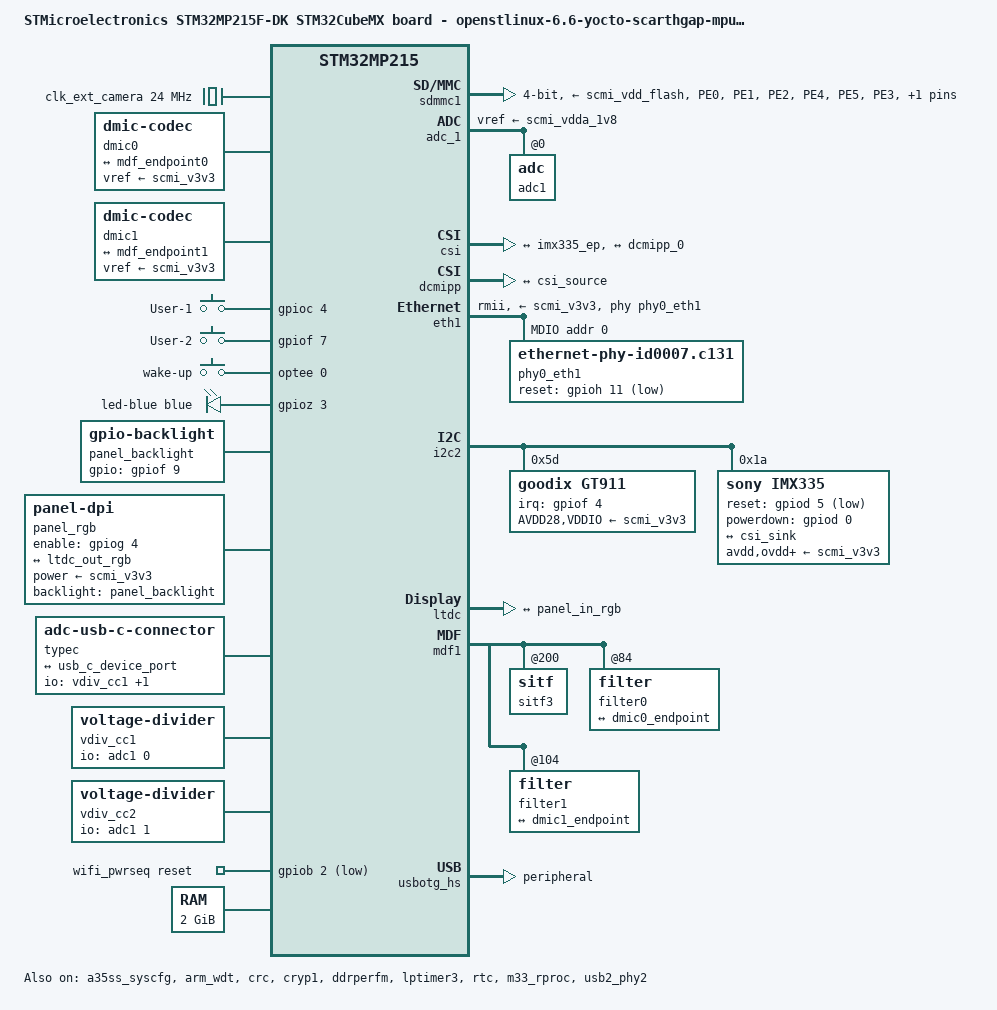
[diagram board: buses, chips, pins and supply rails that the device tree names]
/dts-v1/;
#include <dt-bindings/pinctrl/stm32-pinfunc.h>
#include "stm32mp215.dtsi"
#include "stm32mp21xf.dtsi"
#include "stm32mp215f-board_215f-dk_m33td-mx-resmem.dtsi"

/* USER CODE BEGIN includes */
#include <dt-bindings/gpio/gpio.h>
#include <dt-bindings/leds/common.h>
#include <dt-bindings/input/input.h>
#include <dt-bindings/rtc/rtc-stm32.h>
#include "stm32mp21-pinctrl.dtsi"
/* USER CODE END includes */

/{
	model = "STMicroelectronics STM32MP215F-DK STM32CubeMX board - openstlinux-6.6-yocto-scarthgap-mpu-v25.01.03";
	compatible = "st,stm32mp215f-board_215f-dk_m33td-mx", "st,stm32mp215f-dk", "st,stm32mp215";

	/* USER CODE BEGIN root */

	aliases{
		ethernet0 = &eth1;
		serial0 = &usart2;
		serial1 = &usart6;
		serial2 = &uart4;
		serial3 = &usart1;
	};

	chosen{
		stdout-path = "serial0:115200n8";
		#address-cells = <2>;
		#size-cells = <2>;
		ranges;
	};

	clocks{

		clk_ext_camera:clk-ext-camera{
			#clock-cells = <0>;
			compatible = "fixed-clock";
			clock-frequency = <24000000>;
		};
	};

	dmic0:dmic-0{
		compatible = "dmic-codec";
		#sound-dai-cells = <1>;
		sound-name-prefix = "dmic0";
		vref-supply = <&scmi_v3v3>;
		status = "okay";

		port{

			dmic0_endpoint:endpoint{
				remote-endpoint = <&mdf_endpoint0>;
			};
		};
	};

	dmic1:dmic-1{
		compatible = "dmic-codec";
		#sound-dai-cells = <1>;
		sound-name-prefix = "dmic1";
		vref-supply = <&scmi_v3v3>;
		status = "okay";

		port{

			dmic1_endpoint:endpoint{
				remote-endpoint = <&mdf_endpoint1>;
			};
		};
	};

	gpio-keys{
		compatible = "gpio-keys";

		button-user-1{
			label = "User-1";
			linux,code = <BTN_1>;
			gpios = <&gpioc 4 GPIO_ACTIVE_HIGH>;
			status = "okay";
		};

		button-user-2{
			label = "User-2";
			linux,code = <BTN_2>;
			gpios = <&gpiof 7 GPIO_ACTIVE_HIGH>;
			status = "okay";
		};

		button-wake-up{
			label = "wake-up";
			linux,code = <KEY_WAKEUP>;
			interrupts-extended = <&optee 0>;
			wakeup-source;
			status = "okay";
		};
	};

	gpio-leds{
		compatible = "gpio-leds";

		led-blue{
			function = LED_FUNCTION_HEARTBEAT;
			color = <LED_COLOR_ID_BLUE>;
			gpios = <&gpioz 3 GPIO_ACTIVE_HIGH>;
			linux,default-trigger = "heartbeat";
			default-state = "off";
		};
	};

	panel_backlight:panel-backlight{
		compatible = "gpio-backlight";
		gpios = <&gpiof 9 GPIO_ACTIVE_HIGH>;
		default-on;
		default-brightness-level = <1>;
		status = "okay";
	};

	panel_rgb:panel-rgb{
		compatible = "panel-dpi";
		enable-gpios = <&gpiog 4 GPIO_ACTIVE_HIGH>;
		backlight = <&panel_backlight>;
		power-supply = <&scmi_v3v3>;
		data-mapping = "bgr666";
		default-on;
		status = "okay";
		width-mm = <105>;
		height-mm = <67>;

		port{

			panel_in_rgb:endpoint{
				remote-endpoint = <&ltdc_out_rgb>;
			};
		};

		panel-timing{
			clock-frequency = <10000000>;
			hactive = <480>;
			vactive = <272>;
			hsync-len = <52>;
			hfront-porch = <10>;
			hback-porch = <10>;
			vsync-len = <10>;
			vfront-porch = <10>;
			vback-porch = <10>;
			hsync-active = <0>;
			vsync-active = <0>;
			de-active = <1>;
			pixelclk-active = <1>;
		};
	};

	sound{
		compatible = "audio-graph-card";
		label = "STM32MP21-DK";
		dais = <&mdf1_port0 &mdf1_port1>;
		status = "okay";
	};

	typec{
		compatible = "adc-usb-c-connector";
		io-channels = <&vdiv_cc1>, <&vdiv_cc2>;
		io-channel-names = "cc1", "cc2";

		connector{
			compatible = "usb-c-connector";
			label = "USB-C";
			data-role = "device";
			power-role = "sink";

			port{

				usb_c_port:endpoint{
					remote-endpoint = <&usb_c_device_port>;
				};
			};
		};
	};

	vdiv_cc1:voltage-divider-cc1{
		compatible = "voltage-divider";
		#io-channel-cells = <0>;
		io-channels = <&adc1 0>;
		output-ohms = <3900>;
		full-ohms = <5100>;
	};

	vdiv_cc2:voltage-divider-cc2{
		compatible = "voltage-divider";
		#io-channel-cells = <0>;
		io-channels = <&adc1 1>;
		output-ohms = <3900>;
		full-ohms = <5100>;
	};

	wifi_pwrseq:wifi-pwrseq{
		compatible = "mmc-pwrseq-simple";
		reset-gpios = <&gpiob 2 GPIO_ACTIVE_LOW>;
	};
	/* USER CODE END root */

	memory@80000000{
		device_type = "memory";
		reg = <0x0 0x80000000 0x0 0x80000000>;
	};
};

&pinctrl {

	sdmmc1_pins_mx:sdmmc1_mx-0{

		pins1{
			pinmux = <STM32_PINMUX('E', 0, AF10)>,
					<STM32_PINMUX('E', 1, AF10)>,
					<STM32_PINMUX('E', 2, AF10)>,
					<STM32_PINMUX('E', 4, AF10)>,
					<STM32_PINMUX('E', 5, AF10)>;
			bias-disable;
			drive-push-pull;
			slew-rate = <2>;
		};

		pins2{
			pinmux = <STM32_PINMUX('E', 3, AF10)>;
			bias-disable;
			drive-push-pull;
			slew-rate = <3>;
		};
	};
	/* USER CODE BEGIN pinctrl */
	/* USER CODE END pinctrl */
};

&pinctrl_z {
	/* USER CODE BEGIN pinctrl_z */
	/* USER CODE END pinctrl_z */
};

&sdmmc1 {
	pinctrl-names = "default", "opendrain", "sleep";
	pinctrl-0 = <&sdmmc1_pins_mx>;
	pinctrl-1 = <&sdmmc1_opendrain_pins_mx>;
	pinctrl-2 = <&sdmmc1_sleep_pins_mx>;
	status = "okay";

	/* USER CODE BEGIN sdmmc1 */
	cd-gpios = <&gpiod 3 (GPIO_ACTIVE_LOW | GPIO_PULL_UP)>;
	disable-wp;
	st,neg-edge;
	bus-width = <4>;
	vmmc-supply = <&scmi_vdd_flash>;
	vqmmc-supply = <&scmi_vddio1>;
	/* USER CODE END sdmmc1 */
};

/* USER CODE BEGIN addons */

&adc_1 {
	vdda-supply = <&scmi_vdda18adc>;
	vref-supply = <&scmi_vdda_1v8>;
	status = "okay";

	adc1:adc@0{
		status = "okay";

		channel@0{
			reg = <0>;
			st,min-sample-time-ns = <100>;
		};

		channel@1{
			reg = <1>;
			st,min-sample-time-ns = <100>;
		};
	};
};

&a35ss_syscfg {
	status = "okay";
};

&arm_wdt {
	timeout-sec = <32>;
	status = "okay";
};

&crc {
	status = "okay";
};

&cryp1 {
	status = "okay";
};

&csi {
	vdd-supply = <&scmi_vddcore>;
	vdda18-supply = <&scmi_vdda_1v8>;
	status = "okay";

	ports{
		#address-cells = <1>;
		#size-cells = <0>;

		port@0{
			reg = <0>;

			csi_sink:endpoint{
				remote-endpoint = <&imx335_ep>;
				data-lanes = <1 2>;
				bus-type = <4>;
			};
		};

		port@1{
			reg = <1>;

			csi_source:endpoint{
				remote-endpoint = <&dcmipp_0>;
			};
		};
	};
};

&dcmipp {
	status = "okay";

	port{

		dcmipp_0:endpoint{
			remote-endpoint = <&csi_source>;
			bus-type = <4>;
		};
	};
};

&ddrperfm {
	st,dram-type = <0>;
	status = "okay";
};

&eth1 {
	status = "okay";
	pinctrl-0 = <&eth1_rmii_pins_a>;
	pinctrl-1 = <&eth1_rmii_sleep_pins_a>;
	pinctrl-names = "default", "sleep";
	phy-mode = "rmii";
	max-speed = <100>;
	phy-handle = <&phy0_eth1>;
	phy-supply = <&scmi_v3v3>;
	st,ext-phyclk;

	mdio1{
		#address-cells = <1>;
		#size-cells = <0>;
		compatible = "snps,dwmac-mdio";

		phy0_eth1:ethernet-phy@0{
			compatible = "ethernet-phy-id0007.c131";
			reset-gpios = <&gpioh 11 GPIO_ACTIVE_LOW>;
			reset-assert-us = <1000>;
			reset-deassert-us = <30000>;
			reg = <0>;
		};
	};
};

&hpdma {
	memory-region = <&hpdma1_lli>;
	lli-bus-interface = <1>;
};

&hpdma2 {
	memory-region = <&hpdma2_lli>;
	lli-bus-interface = <1>;
};

&hpdma3 {
	memory-region = <&hpdma3_lli>;
	lli-bus-interface = <1>;
};

&i2c2 {
	pinctrl-names = "default", "sleep";
	pinctrl-0 = <&i2c2_pins_a>;
	pinctrl-1 = <&i2c2_sleep_pins_a>;
	status = "okay";
	i2c-scl-rising-time-ns = <34>;
	i2c-scl-falling-time-ns = <2>;
	goodix:goodix-ts@5d{
		compatible = "goodix,gt911";
		reg = <0x5d>;
		pinctrl-names = "default";
		pinctrl-0 = <&goodix_pins_a>;
		interrupt-parent = <&gpiof>;
		interrupts = <4 IRQ_TYPE_EDGE_FALLING>;
		AVDD28-supply = <&scmi_v3v3>;
		VDDIO-supply = <&scmi_v3v3>;
		touchscreen-size-x = <480>;
		touchscreen-size-y = <272>;
		status = "okay";
	};

	imx335:camera@1a{
		compatible = "sony,imx335";
		reg = <0x1a>;
		clocks = <&clk_ext_camera>;
		avdd-supply = <&scmi_v3v3>;
		ovdd-supply = <&scmi_v3v3>;
		dvdd-supply = <&scmi_v3v3>;
		reset-gpios = <&gpiod 5 (GPIO_ACTIVE_LOW | GPIO_PUSH_PULL)>;
		powerdown-gpios = <&gpiod 0 (GPIO_ACTIVE_HIGH | GPIO_PUSH_PULL)>;

		port{

			imx335_ep:endpoint{
				remote-endpoint = <&csi_sink>;
				clock-lanes = <0>;
				data-lanes = <1 2>;
				link-frequencies = /bits/ 64 <594000000>;
			};
		};
	};
};

&ipcc1 {
	status = "okay";
};

&lptimer3 {
	status = "okay";

	timer{
		status = "okay";
	};
};

&ltdc {
	pinctrl-names = "default", "sleep";
	pinctrl-0 = <&ltdc_pins_a>;
	pinctrl-1 = <&ltdc_sleep_pins_a>;
	default-on;
	status = "okay";

	port{

		ltdc_out_rgb:endpoint{
			remote-endpoint = <&panel_in_rgb>;
		};
	};
};

&mdf1 {
	pinctrl-names = "default", "sleep";
	pinctrl-0 = <&mdf_cck0_pins_a>;
	pinctrl-1 = <&mdf_cck0_sleep_pins_a>;
	#clock-cells = <1>;
	clock-output-names = "cck0";
	clock-frequency = <1536000>;
	status = "okay";

	sitf3:sitf@200{
		pinctrl-names = "default", "sleep";
		pinctrl-0 = <&mdf_sdi3_pins_a>;
		pinctrl-1 = <&mdf_sdi3_sleep_pins_a>;
		st,sitf-mode = "spi";
		clocks = <&mdf1 0>;
		status = "okay";
	};

	filter0:filter@84{
		#address-cells = <1>;
		#size-cells = <0>;
		st,cic-mode = <4>;
		st,sitf = <&sitf3 0>;
		st,hpf-filter-cutoff-bp = <625>;
		status = "okay";

		channel@0{
			reg = <0>;
			label = "dmic_u26";
		};

		asoc_pdm0:mdf-dai{
			compatible = "st,stm32mp25-mdf-dai";
			#sound-dai-cells = <0>;
			io-channels = <&filter0 0>;
			power-domains = <&d1_pd>;
			status = "okay";

			mdf1_port0:port{

				mdf_endpoint0:endpoint{
					remote-endpoint = <&dmic0_endpoint>;
				};
			};
		};
	};

	filter1:filter@104{
		#address-cells = <1>;
		#size-cells = <0>;
		st,cic-mode = <4>;
		st,sitf = <&sitf3 1>;
		st,hpf-filter-cutoff-bp = <625>;
		status = "okay";

		channel@1{
			reg = <1>;
			label = "dmic_u27";
		};

		asoc_pdm1:mdf-dai{
			compatible = "st,stm32mp25-mdf-dai";
			#sound-dai-cells = <0>;
			io-channels = <&filter1 0>;
			power-domains = <&d1_pd>;
			status = "okay";

			mdf1_port1:port{

				mdf_endpoint1:endpoint{
					remote-endpoint = <&dmic1_endpoint>;
				};
			};
		};
	};
};

&rtc {
	st,lsco = <RTC_OUT1>;
	pinctrl-0 = <&rtc_out1_pins_a>;
	pinctrl-names = "default";
	status = "okay";
};

&scmi_regu {
	scmi_vddcore: regulator@5 {
		reg = <VOLTD_SCMI_STPMIC_BUCK1>;
		regulator-name = "vddcore";
	};
	scmi_vdd3v3_usb: regulator@f {
		reg = <VOLTD_SCMI_STPMIC_LDO4>;
		regulator-name = "vdd3v3_usb";
	};
	scmi_vdd_flash: regulator@10 {
		reg = <VOLTD_SCMI_STPMIC_LDO5>;
		regulator-name = "vdd_flash";
	};
	scmi_vdda_1v8: regulator@11 {
		reg = <VOLTD_SCMI_STPMIC_LDO6>;
		regulator-name = "vdda_1v8";
	};
	scmi_v3v3: regulator@15 {
		reg = <VOLTD_SCMI_STPMIC_GPO1>;
		regulator-name = "v3v3";
	};
};

&m33_rproc {
	mboxes = <&ipcc1 0x0>, <&ipcc1 0x1>, <&ipcc1 2>;
	mbox-names = "vq0", "vq1", "shutdown";
	memory-region = <&cm33_cube_fw>, <&cm33_cube_data>,
			<&ipc_shmem_1>, <&vdev0vring0>,
			<&vdev0vring1>, <&vdev0buffer>;
	st,syscfg-nsvtor = <&a35ss_syscfg 0xa8 0xffffff80>;
	status = "okay";
};

&usb2_phy2 {
	vdda18-supply = <&scmi_vdda_1v8>;
	vdd33-supply = <&scmi_vdd3v3_usb>;
	status = "okay";
};

&usbotg_hs {
	role-switch-default-mode = "peripheral";
	dr_mode = "peripheral";
	usb-role-switch;
	status = "okay";

	port{

		usb_c_device_port:endpoint{
			remote-endpoint = <&usb_c_port>;
		};
	};
	/delete-node/ port;
};
/* USER CODE END addons */
